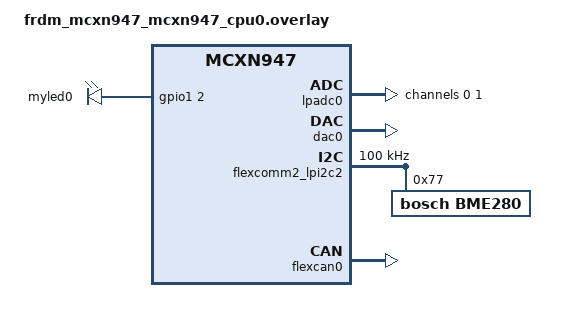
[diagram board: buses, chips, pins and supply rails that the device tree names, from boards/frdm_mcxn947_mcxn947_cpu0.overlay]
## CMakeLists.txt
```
# SPDX-License-Identifier: Apache-2.0

cmake_minimum_required(VERSION 3.28.0)

list(APPEND BOARD_ROOT ${CMAKE_CURRENT_SOURCE_DIR})
set(BOARD "mcxn947_protocard/mcxn947/cpu0")

set(VERSION_MAJOR "1")
set(VERSION_MINOR "1")
set(PATCHLEVEL "0")
set(VERSION_TWEAK "0")
set(EXTRAVERSION "00000000")

find_package(Git QUIET REQUIRED)

execute_process(
    COMMAND "${GIT_EXECUTABLE}" rev-parse --short HEAD
    WORKING_DIRECTORY "${CMAKE_SOURCE_DIR}"
    RESULT_VARIABLE res
    OUTPUT_VARIABLE EXTRAVERSION
    ERROR_QUIET
    OUTPUT_STRIP_TRAILING_WHITESPACE)

set_property(GLOBAL APPEND
    PROPERTY CMAKE_CONFIGURE_DEPENDS
    "${CMAKE_SOURCE_DIR}/.git/index")

set(BOARD_FLASH_RUNNER "probe-rs")
set(BOARD_DEBUG_RUNNER "probe-rs")

# utilize settings to autogenerate a header file to adjust the build inside the C code
#
configure_file (
   "${CMAKE_SOURCE_DIR}/src/VERSION.in"
   "${CMAKE_SOURCE_DIR}/VERSION"
   )

find_package(Zephyr REQUIRED HINTS $ENV{ZEPHYR_BASE})

project(oresat_template LANGUAGES C)

include_directories("${PROJECT_SOURCE_DIR}") # needed so c code can find this header

# (*) zephyr_include_directories(od)
zephyr_include_directories(objdict)

# (*)=disabled until oresat-configs supports code generation for Zephyr's canopennode
# (*) execute_process(COMMAND bash -c "oresat-configs canopennode od.yaml ../../common/od.yaml -d gen")

target_sources(app PRIVATE
  src/main.c
)

# Compile in various demos depending on Kconfig values.
target_sources_ifdef(CONFIG_BLINK_DEMO      app PRIVATE src/blink.c)
target_sources_ifdef(CONFIG_I2C_SENSOR_DEMO app PRIVATE src/i2c_sensor.c)
target_sources_ifdef(CONFIG_DAC_DEMO        app PRIVATE src/dac.c)
target_sources_ifdef(CONFIG_ADC_DEMO        app PRIVATE src/adc.c)
target_sources_ifdef(CONFIG_CAN_DEMO        app PRIVATE src/can.c)
target_sources_ifdef(CONFIG_GPIO_DEMO       app PRIVATE src/gpio.c)
target_sources_ifdef(CONFIG_CAN_DEMO        app PRIVATE objdict/CO_OD.c)
# (*) target_sources_ifdef(CONFIG_CAN_DEMO       app PRIVATE od/CO_OD.c)
```

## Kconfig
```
# SPDX-License-Identifier: Apache-2.0

menu "Zephyr"
source "Kconfig.zephyr"
endmenu

module = APP_TEMPLATE
module-str = APP TEMPLATE

config BOARD_OVERLAY_PRESENT
	bool
	default $(dt_nodelabel_exists,oresat_demo)

if BOARD_OVERLAY_PRESENT

	menu "Oresat demo options"

	config BLINK_DEMO
		bool "Blink an LED"
		default y
		help
		  Enable the thread which blinks an LED.

	config I2C_SENSOR_DEMO
		bool "Enable monitoring an I2C sensor"
		default y
		select I2C
		select SENSOR
		select SENSOR_ASYNC_API
		help
		  Enable reading from a Bosch Sensortec BME280.

	config DAC_DEMO
		bool "Enable generation of a sawtooth pattern."
		default y
		select DAC
		help
		  Enable a slowly repeating sawtooth from 0 to 3.3v.

	config CAN_DEMO
		bool "Enable sending CAN packets."
		default y
		select CAN
		select CANOPEN
		select CANOPENNODE
		select USE_STM32_HAL_FLASH if SOC_STM32F091XC
		select USE_STM32_HAL_FLASH_EX if SOC_STM32F091XC
		select USE_STM32_HAL_CAN if SOC_STM32F091XC
		help
		  Enable CAN interface and send data from CO_OD.

	config GPIO_DEMO
		bool "Enable monitoring GPIOs."
		default y
		help
		  Enable logging of initial GPIO states, followed
		  by periodic logging of changes.

	config ADC_DEMO
		bool "Enable monitoring one or more ADC channels."
		default y
		select ADC
		select DMA
		select ADC_STM32 if SOC_STM32F091XC
		select ADC_STM32_DMA if SOC_STM32F091XC
		select DMA_STM32 if SOC_STM32F091XC
		help
		  Outputs the data scaled to mV.

	if ADC_DEMO

		config SEQUENCE_SAMPLES
			int "Number of samples to be made on the sequence for each channel."
			default 5

		config SEQUENCE_RESOLUTION
			int "Set the resolution of the sequence readings."
			default 12

		config SEQUENCE_32BITS_REGISTERS
			bool "ADC data sequences are on 32bits"
			default n

	endif  # ADC_DEMO

	if CAN_DEMO && !SOC_STM32F091XC && !ARCH_POSIX

		config MCUBOOT_ALLOWED
			bool "MCUboot allowed."
			default y
			select BOOTLOADER_MCUBOOT
			select MCUBOOT_GENERATE_UNSIGNED_IMAGE
			select FLASH
			select FLASH_MAP
			select STREAM_FLASH
			select IMG_MANAGER
			select MCUBOOT_GENERATE_CONFIRMED_IMAGE
			select CANOPENNODE_PROGRAM_DOWNLOAD
			help
			  Define helper symbol CONFIG_MCUBOOT_ALLOWED for all supported
			  architectures that have room for the required partitions in flash
			  and have those partitions defined in the device tree. This
			  eliminates the need for the user to either change prj.conf to
			  enable MCUBOOT or provide an EXTRA_CONF_FILE option to west that
			  names an overlay file.

	endif

	endmenu

endif # BOARD_OVERLAY_PRESENT
```

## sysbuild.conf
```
SB_CONFIG_BOOTLOADER_MCUBOOT=n
SB_CONFIG_BOOT_SIGNATURE_TYPE_NONE=y
```

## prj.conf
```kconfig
CONFIG_GPIO=y
CONFIG_CONSOLE=y
CONFIG_UART_CONSOLE=y
CONFIG_STDOUT_CONSOLE=y
CONFIG_BUILD_OUTPUT_HEX=y
CONFIG_CRC=y

CONFIG_CANOPENNODE_SDO_BUFFER_SIZE=889
CONFIG_CAN_DEFAULT_BITRATE=1000000
CONFIG_CANOPENNODE_SYNC_THREAD=n

CONFIG_REBOOT=y

CONFIG_ORESAT_COMMON_LIB=y
CONFIG_HWINFO=y

CONFIG_I2C=y
CONFIG_SENSOR=y
CONFIG_SENSOR_ASYNC_API=y

CONFIG_BLINK_DEMO=y
CONFIG_I2C_SENSOR_DEMO=y
CONFIG_CAN_DEMO=y
CONFIG_ADC_DEMO=y
CONFIG_DAC_DEMO=y
CONFIG_GPIO_DEMO=y

# Below is required to read temperature channel 26,
# but it causes a bus fault. Debug required.
#CONFIG_LPADC_CHANNEL_COUNT=28

CONFIG_SEQUENCE_SAMPLES=8

CONFIG_DMA_LOG_LEVEL_WRN=y

CONFIG_LOG=y
CONFIG_LOG_MODE_IMMEDIATE=y
CONFIG_LOG_MODE_DEFERRED=n
#CONFIG_LOG_BUFFER_SIZE=20480
CONFIG_LOG_PRINTK=y

CONFIG_LOG_DEFAULT_LEVEL=4
#CONFIG_SENSOR_LOG_LEVEL_DBG=y
CONFIG_KERNEL_LOG_LEVEL_INF=y
CONFIG_ADC_LOG_LEVEL_INF=y
CONFIG_DAC_LOG_LEVEL_INF=y
CONFIG_CAN_LOG_LEVEL_ERR=y

CONFIG_HEAP_MEM_POOL_SIZE=1024
CONFIG_ASSERT=y

CONFIG_SYSTEM_WORKQUEUE_STACK_SIZE=2048
CONFIG_MAIN_STACK_SIZE=2048

CONFIG_ASSERT=n
CONFIG_DEBUG_THREAD_INFO=y
CONFIG_THREAD_RUNTIME_STATS=y
CONFIG_DEBUG_OPTIMIZATIONS=y
CONFIG_COVERAGE=n

CONFIG_THREAD_ANALYZER=y
CONFIG_THREAD_ANALYZER_USE_PRINTK=y
CONFIG_THREAD_ANALYZER_AUTO=y
CONFIG_THREAD_ANALYZER_AUTO_INTERVAL=300

CONFIG_INIT_STACKS=y
CONFIG_STACK_SENTINEL=y
#CONFIG_STACK_CANARIES=y
#CONFIG_TEST_RANDOM_GENERATOR=y

CONFIG_USE_SEGGER_RTT=y
CONFIG_RTT_CONSOLE=y
```

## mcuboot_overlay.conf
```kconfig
CONFIG_BOOTLOADER_MCUBOOT=y
CONFIG_MCUBOOT_GENERATE_UNSIGNED_IMAGE=y
# CONFIG_MCUBOOT_SIGNATURE_KEY_FILE=""
CONFIG_FLASH=y
CONFIG_FLASH_MAP=y
CONFIG_STREAM_FLASH=y
CONFIG_IMG_MANAGER=y
CONFIG_MCUBOOT_IMG_MANAGER=y
CONFIG_MCUBOOT_GENERATE_CONFIRMED_IMAGE=n
```

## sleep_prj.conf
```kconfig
CONFIG_PRINTK=y
CONFIG_CONSOLE=y
CONFIG_SERIAL=y
CONFIG_UART_CONSOLE=y

CONFIG_PM=y
CONFIG_PM_DEVICE=y
CONFIG_PM_DEVICE_RUNTIME=y


CONFIG_TICKLESS_KERNEL=y
```

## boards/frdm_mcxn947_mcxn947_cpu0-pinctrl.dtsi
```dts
&pinctrl {
	pinmux_flexcomm2_lpi2c: pinmux_flexcomm2_lpi2c {
		group0 {
			pinmux = <FC2_P0_PIO4_0>, // SDA  Header: J7  Pin: 8
    			     <FC2_P1_PIO4_1>; // SCL  Header: J7  Pin: 6
			slew-rate = "fast";
			drive-strength = "low";
			input-enable;
			bias-pull-up;
			drive-open-drain;
		};
	};

    pinmux_dac0: pinmux_dac0 {
        group0 {
            pinmux = <DAC0_OUT_PIO4_2>; // Header: J1  Pin: 4
            drive-strength = "low";
            slew-rate = "fast";
        };
    };

    pinmux_lpadc0: pinmux_lpadc0 {
        group0 {
            pinmux = <ADC0_A14_PIO0_22>, // Header: J4  Pin: 8
                     <ADC0_A15_PIO0_23>; // Header: J4  Pin: 12
            slew-rate = "fast";
            drive-strength = "low";
        };
    };

    pinmux_flexcan0: pinmux_flexcan0 {
        group0 {
            pinmux = <CAN0_TXD_PIO1_10>,
                     <CAN0_RXD_PIO1_11>;
            slew-rate = "fast";
            drive-strength = "low";
        };
    };
};
```

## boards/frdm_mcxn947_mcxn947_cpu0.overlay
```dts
#include <zephyr/dt-bindings/adc/adc.h>
#include <zephyr/dt-bindings/adc/mcux-lpadc.h>

#include "frdm_mcxn947_mcxn947_cpu0-pinctrl.dtsi"

/ {
	oresat_demo: oresat-demo-enabled {}; // Enable demos for supported boards

	zephyr,user {
		dac = <&dac0>;
		dac_channel_id = <0>;
		dac_resolution = <12>;
	};

	aliases {
		dac0 = &dac0;
		adc0 = &lpadc0;
		i2c0 = &flexcomm2_lpi2c2;
		led0 = &myled0;
		can0 = &flexcan0;
	};

	leds {
		compatible = "gpio-leds";
		myled0: led_0 {
			gpios = <&gpio1 2 GPIO_ACTIVE_HIGH>;
		};
	};
};

&lpadc0 {
	#address-cells = <1>;
	#size-cells = <0>;
	voltage-ref = <0x0>; // Use 3.3V reference
	pinctrl-0 = <&pinmux_lpadc0>;
	pinctrl-names = "default";

	lpadc0_0: channel@0 {
		reg = <0>;
		zephyr,gain = "ADC_GAIN_1";
		zephyr,reference = "ADC_REF_EXTERNAL0";
		zephyr,vref-mv = <3300>;
		zephyr,acquisition-time = <ADC_ACQ_TIME(ADC_ACQ_TIME_MICROSECONDS,2)>;
		zephyr,resolution = <12>;
		zephyr,oversampling = <5>;
		zephyr,input-positive = <MCUX_LPADC_CH14A>;
		/delete-property/ zephyr,differential;
	};
	lpadc0_1: channel@1 {
		reg = <1>;
		zephyr,gain = "ADC_GAIN_1";
		zephyr,reference = "ADC_REF_EXTERNAL0";
		zephyr,vref-mv = <3300>;
		zephyr,acquisition-time = <ADC_ACQ_TIME(ADC_ACQ_TIME_MICROSECONDS,2)>;
		zephyr,resolution = <12>;
		zephyr,oversampling = <5>;
		zephyr,input-positive = <MCUX_LPADC_CH15A>;
		/delete-property/ zephyr,differential;
	};
};

&dac0 {
	status = "okay";
	pinctrl-0 = <&pinmux_dac0>;
	pinctrl-names = "default";
};

&flexcomm2_lpi2c2 {
	status = "okay";
	pinctrl-0 = <&pinmux_flexcomm2_lpi2c>;
	pinctrl-names = "default";
	clock-frequency = <I2C_BITRATE_STANDARD>;

	bme280: bme280@77 {
		compatible = "bosch,bme280";
		reg = <0x77>;
		status = "okay";
	};
};

&flexcan0 {
	status = "okay";
	pinctrl-0 = <&pinmux_flexcan0>;
	pinctrl-names = "default";
};
```

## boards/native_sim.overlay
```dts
#include <zephyr/dt-bindings/adc/adc.h>

/ {
    oresat_demo: oresat-demo-enabled {}; // Enable demos for supported boards

    chosen {
        zephyr,canbus = &can0;
    };

    aliases {
        adc0 = &adc;
        /* can0 = &can; */
    };

    adc: adc {
        compatible = "zephyr,adc-emul";
        status = "okay";
        #address-cells = <1>;
        #size-cells = <0>;
        nchannels = <32>;
        ref-internal-mv = <1>;

        channel@0 {
            reg = <0>;
            zephyr,gain = "ADC_GAIN_1";
            zephyr,reference = "ADC_REF_INTERNAL";
            zephyr,vref-mv = <3300>;
            zephyr,acquisition-time = <ADC_ACQ_TIME(ADC_ACQ_TIME_MICROSECONDS,2)>;
            zephyr,resolution = <12>;
            zephyr,oversampling = <5>;
            zephyr,input-positive = <0>;
        };
    };

    can: can {
        compatible = "zephyr,native-linux-can";
        status = "okay";
        host-interface = "zcan0";
        bitrate = <1000>;
    };
};
```

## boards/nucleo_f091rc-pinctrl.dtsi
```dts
&pinctrl {
    i2c1_sda_pb9: i2c1_sda_pb9 {
        pinmux = <STM32_PINMUX('B', 9, AF1)>; // SDA  Arduino: D14  Pin: PB9
        slew-rate = "medium-speed";
        bias-pull-up;
        drive-open-drain;
    };

    i2c1_scl_pb8: i2c1_scl_pb8 {
        pinmux = <STM32_PINMUX('B', 8, AF1)>; // SCL  Arduino: D15  Pin: PB8
        slew-rate = "medium-speed";
        bias-pull-up;
        drive-open-drain;
    };

    dac1_out1_pa4: dac1_out1_pa4 {
        pinmux = <STM32_PINMUX('A', 4, ANALOG)>; // DAC_OUT1  Arduino: A2  Pin: PA4
    };

    adc1_in0_pa0: adc1_in0_pa0 {
        pinmux = <STM32_PINMUX('A', 0, ANALOG)>; // ADC1_IN0  Arduino: A0  Pin: PA0
    };

    adc1_in1_pa1: adc1_in1_pa1 {
        pinmux = <STM32_PINMUX('A', 1, ANALOG)>; // ADC1_IN1  Arduino: A1  Pin: PA1
    };
};
```

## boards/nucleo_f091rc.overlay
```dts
#include <zephyr/dt-bindings/adc/adc.h>
#include <zephyr/dt-bindings/pinctrl/stm32-pinctrl.h>
#include <zephyr/dt-bindings/dma/stm32_dma.h>

#include "nucleo_f091rc-pinctrl.dtsi"

/ {
	oresat_demo: oresat-demo-enabled {}; // Enable demos for supported boards

	zephyr,user {
		dac = <&dac1>;
		dac_channel_id = <1>;
		dac_resolution = <12>;
	};

	aliases {
		dac0 = &dac1;
		adc0 = &adc1;
		i2c0 = &i2c1;
		led0 = &myled0;
	};

	leds {
		compatible = "gpio-leds";
		myled0: led_0 {
			gpios = <&gpioa 5 GPIO_ACTIVE_HIGH>;
		};
	};
};

&dma1 {
	status = "okay";
};

&adc1 {
	#address-cells = <1>;
	#size-cells = <0>;
	pinctrl-0 = <&adc1_in0_pa0 &adc1_in1_pa1>;
	pinctrl-names = "default";
	dmas = <&dma1 1 (STM32_DMA_PERIPH_RX |
					STM32_DMA_PRIORITY_HIGH |
					STM32_DMA_PERIPH_16BITS |
					STM32_DMA_MEM_16BITS)>;
	dma-names = "rx";

	adc1_0: channel@0 {
		reg = <0>;
		zephyr,gain = "ADC_GAIN_1";
		zephyr,reference = "ADC_REF_INTERNAL";
		zephyr,vref-mv = <3300>;
		zephyr,acquisition-time = <ADC_ACQ_TIME(ADC_ACQ_TIME_TICKS, 240)>;
		zephyr,resolution = <12>;
		zephyr,oversampling = <5>;
		/delete-property/ zephyr,differential;
	};
	adc1_1: channel@1 {
		reg = <1>;
		zephyr,gain = "ADC_GAIN_1";
		zephyr,reference = "ADC_REF_INTERNAL";
		zephyr,vref-mv = <3300>;
		zephyr,acquisition-time = <ADC_ACQ_TIME(ADC_ACQ_TIME_TICKS, 240)>;
		zephyr,resolution = <12>;
		zephyr,oversampling = <5>;
		/delete-property/ zephyr,differential;
	};
};

&dac1 {
	status = "okay";
	pinctrl-0 = <&dac1_out1_pa4>;
	pinctrl-names = "default";
};

&i2c1 {
	status = "okay";
	pinctrl-0 = <&i2c1_scl_pb8 &i2c1_sda_pb9>;
	pinctrl-names = "default";
	clock-frequency = <I2C_BITRATE_STANDARD>;

	bme280: bme280@77 {
		compatible = "bosch,bme280";
		reg = <0x77>;
		status = "okay";
	};
};
```

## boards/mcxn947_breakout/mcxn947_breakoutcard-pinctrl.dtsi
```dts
/*
 * Copyright 2024 NXP
 * SPDX-License-Identifier: Apache-2.0
 */


#include <nxp/mcx/MCXN947VNL-pinctrl.h>

&pinctrl {
	pinmux_flexcomm0_lpi2c: pinmux_flexcomm0_lpi2c {
		group0 {
			pinmux = <FC0_P0_PIO0_16>,
				<FC0_P1_PIO0_17>;
			slew-rate = "fast";
			drive-strength = "low";
			input-enable;
			bias-pull-up;
			drive-open-drain;
		};
	};

	pinmux_flexcomm3_lpspi: pinmux_flexcomm3_lpspi {
		group0 {
			pinmux = <FC3_P0_PIO1_0>,
				<FC3_P1_PIO1_1>,
				<FC3_P2_PIO1_2>,
				<FC3_P3_PIO1_3>;
			slew-rate = "fast";
			drive-strength = "low";
			input-enable;
		};
	};

	pinmux_flexcomm2_lpi2c: pinmux_flexcomm2_lpi2c {
		group0 {
			pinmux = <FC2_P0_PIO4_0>,
				<FC2_P1_PIO4_1>;
			slew-rate = "fast";
			drive-strength = "low";
			input-enable;
			bias-pull-up;
			drive-open-drain;
		};
	};

	pinmux_flexcomm2_lpuart: pinmux_flexcomm2_lpuart {
		group0 {
			pinmux = <FC2_P2_PIO4_2>,
				<FC2_P3_PIO4_3>;
			slew-rate = "fast";
			drive-strength = "low";
			input-enable;
		};
	};

	pinmux_flexcomm4_lpuart: pinmux_flexcomm4_lpuart {
		group0 {
			pinmux = <FC4_P0_PIO1_8>,
				<FC4_P1_PIO1_9>;
			slew-rate = "fast";
			drive-strength = "low";
			input-enable;
		};
	};

	pinmux_flexspi: pinmux_flexspi {
		group0 {
			pinmux = <FLEXSPI0_A_SS0_b_PIO3_0>,
					<FLEXSPI0_A_SCLK_PIO3_7>,
					<FLEXSPI0_A_DQS_PIO3_6>,
					<FLEXSPI0_A_DATA0_PIO3_8>,
					<FLEXSPI0_A_DATA1_PIO3_9>;
			input-enable;
			slew-rate = "fast";
			drive-strength = "low";
		};
		group1 {
			pinmux = <FLEXSPI0_A_DATA2_PIO3_10>,
					<FLEXSPI0_A_DATA3_PIO3_11>;
			input-enable;
			slew-rate = "fast";
			drive-strength = "low";
			bias-pull-up;
		};
	};

	pinmux_dac0: pinmux_dac0 {
		group0 {
			pinmux = <DAC0_OUT_PIO4_2>;
			drive-strength = "low";
			slew-rate = "fast";
		};
	};

	pinmux_flexpwm1_pwm0: pinmux_flexpwm1_pwm0 {
		group0 {
			pinmux = <PWM1_A0_PIO2_6>,
				<PWM1_B0_PIO2_7>;
			slew-rate = "fast";
			drive-strength = "low";
		};
	};

	pinmux_flexpwm1_pwm1: pinmux_flexpwm1_pwm1 {
		group0 {
			pinmux = <PWM1_A1_PIO2_4>,
				<PWM1_B1_PIO2_5>;
			slew-rate = "fast";
			drive-strength = "low";
		};
	};

	pinmux_flexpwm1_pwm2: pinmux_flexpwm1_pwm2 {
		group0 {
			pinmux = <PWM1_A2_PIO2_2>,
				<PWM1_B2_PIO2_3>;
			slew-rate = "fast";
			drive-strength = "low";
		};
	};

	pinmux_usdhc0: pinmux_usdhc0 {
		group0 {
			pinmux = <SDHC0_CMD_PIO2_5>,
				   <SDHC0_D0_PIO2_3>,
				   <SDHC0_D1_PIO2_2>,
				   <SDHC0_D2_PIO2_7>,
				   <SDHC0_D3_PIO2_6>;
			slew-rate = "fast";
			drive-strength = "low";
			bias-pull-up;
			input-enable;
		};
		group1 {
			pinmux = <SDHC0_CLK_PIO2_4>;
			slew-rate = "fast";
			drive-strength = "low";
			input-enable;
		};
	};

	pinmux_lpadc0: pinmux_lpadc0 {
		group0 {
			pinmux = <ADC0_A1_PIO4_15>,
					 <ADC0_A2_PIO4_23>;
			slew-rate = "fast";
			drive-strength = "low";
		};
	};

	pinmux_lpcmp0: pinmux_lpcmp0 {
		group0 {
			pinmux = <CMP0_IN0_PIO1_0>;
			drive-strength = "low";
			slew-rate = "fast";
			bias-pull-up;
		};
	};

	pinmux_flexcan0: pinmux_flexcan0 {
		group0 {
			pinmux = <CAN0_TXD_PIO1_10>,
				<CAN0_RXD_PIO1_11>;
			slew-rate = "fast";
			drive-strength = "low";
			input-enable;
		};
	};

	pinmux_sctimer: pinmux_sctimer {
		group0 {
			pinmux = <SCT0_OUT0_PIO2_2>;
			slew-rate = "fast";
			drive-strength = "low";
			input-enable;
		};
	};
};
```

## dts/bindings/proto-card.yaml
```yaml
# Oresat proto card

description: Oresat proto card

compatible: "proto-card"

properties:
  tp84-p0-3-gpios:
    type: phandle-array
    required: true
    description: GPIO input or output.

  tp84-p0-3-gpios:
    type: phandle-array
    required: true
    description: GPIO input or output.

  tp85-p0-4-gpios:
    type: phandle-array
    required: true
    description: GPIO input or output.

  tp86-p0-5-gpios:
    type: phandle-array
    required: true
    description: GPIO input or output.

  tp78-p0-18-gpios:
    type: phandle-array
    required: true
    description: GPIO input or output.

  tp79-p0-19-gpios:
    type: phandle-array
    required: true
    description: GPIO input or output.

  tp80-p0-20-gpios:
    type: phandle-array
    required: true
    description: GPIO input or output.

  tp81-p0-21-gpios:
    type: phandle-array
    required: true
    description: GPIO input or output.

  tp82-p0-22-gpios:
    type: phandle-array
    required: true
    description: GPIO input or output.

  tp83-p0-23-gpios:
    type: phandle-array
    required: true
    description: GPIO input or output.

  tp68-p1-0-gpios:
    type: phandle-array
    required: true
    description: GPIO input or output.

  tp69-p1-1-gpios:
    type: phandle-array
    required: true
    description: GPIO input or output.

  tp70-p1-2-gpios:
    type: phandle-array
    required: true
    description: GPIO input or output.

  tp71-p1-3-gpios:
    type: phandle-array
    required: true
    description: GPIO input or output.

  tp72-p1-4-gpios:
    type: phandle-array
    required: true
    description: GPIO input or output.

  tp73-p1-5-gpios:
    type: phandle-array
    required: true
    description: GPIO input or output.

  tp74-p1-6-gpios:
    type: phandle-array
    required: true
    description: GPIO input or output.

  tp75-p1-7-gpios:
    type: phandle-array
    required: true
    description: GPIO input or output.

  tp5-p1-12-gpios:
    type: phandle-array
    required: true
    description: GPIO input or output.

  tp7-p1-14-gpios:
    type: phandle-array
    required: true
    description: GPIO input or output.

  tp8-p1-15-gpios:
    type: phandle-array
    required: true
    description: GPIO input or output.

  tp9-p2-0-gpios:
    type: phandle-array
    required: true
    description: GPIO input or output.

  tp10-p2-1-gpios:
    type: phandle-array
    required: true
    description: GPIO input or output.

  tp52-p3-1-gpios:
    type: phandle-array
    required: true
    description: GPIO input or output.

  tp60-p3-12-gpios:
    type: phandle-array
    required: true
    description: GPIO input or output.

  tp59-p3-13-gpios:
    type: phandle-array
    required: true
    description: GPIO input or output.

  tp58-p3-14-gpios:
    type: phandle-array
    required: true
    description: GPIO input or output.

  tp57-p3-15-gpios:
    type: phandle-array
    required: true
    description: GPIO input or output.

  tp56-p3-16-gpios:
    type: phandle-array
    required: true
    description: GPIO input or output.

  tp55-p3-17-gpios:
    type: phandle-array
    required: true
    description: GPIO input or output.

  tp62-p3-20-gpios:
    type: phandle-array
    required: true
    description: GPIO input or output.

  tp63-p3-21-gpios:
    type: phandle-array
    required: true
    description: GPIO input or output.

  tp29-p4-1-gpios:
    type: phandle-array
    required: true
    description: GPIO input or output.

  tp27-p4-3-gpios:
    type: phandle-array
    required: true
    description: GPIO input or output.

  tp26-p4-4-gpios:
    type: phandle-array
    required: true
    description: GPIO input or output.

  tp25-p4-5-gpios:
    type: phandle-array
    required: true
    description: GPIO input or output.

  tp22-p4-6-gpios:
    type: phandle-array
    required: true
    description: GPIO input or output.

  tp20-p4-7-gpios:
    type: phandle-array
    required: true
    description: GPIO input or output.

  tp41-p4-19-gpios:
    type: phandle-array
    required: true
    description: GPIO input or output.

  tp64-p5-0-gpios:
    type: phandle-array
    required: true
    description: GPIO input or output.

  tp65-p5-1-gpios:
    type: phandle-array
    required: true
    description: GPIO input or output.

  tp66-p5-2-gpios:
    type: phandle-array
    required: true
    description: GPIO input or output.

  tp67-p5-3-gpios:
    type: phandle-array
    required: true
    description: GPIO input or output.
```

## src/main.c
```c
/**
 * main.c
 *
 * Simple main that only logs a bootup message. The remainder
 * of the demos are implemented as independent threads
 * in blink.c, dac.c, i2c_sensor.c, and adc.c.
 *
 * These can be disabled at compile time by adding:
 *   CONFIG_BLINK_DEMO=n
 * for example, to prj.conf. See Kconfig for the options or run
 * west build -t menuconfig for an interacive configuration
 * editor.
 */
#include <zephyr/device.h>
#include <zephyr/kernel.h>
#include <zephyr/drivers/hwinfo.h>
#include <zephyr/logging/log.h>
#include <zephyr/version.h>
#include <zephyr/app_version.h>

LOG_MODULE_REGISTER(oresat_zephyr_template, LOG_LEVEL_DBG);

/** Dump Hardware Info
 *    Show the unique processor id and the reason for reset.
 *
 *    This requires:
 *    #include <zephyr/drivers/hwinfo.h>
 *    prj.conf:
 *    CONFIG_HWINFO=y
 *    Names of reset cause bits defined in same header; e.g.
 *    RESET_POR
 **/
static void dump_hwinfo(void)
{
	uint8_t hwid[32] = {0};
	uint32_t reset_cause;
	int reset_cause_ret;
	int hwid_len;

	hwid_len = hwinfo_get_device_id(hwid,sizeof(hwid)); // returns size of the device id
	reset_cause_ret = hwinfo_get_reset_cause(&reset_cause);
	if (!reset_cause_ret) {
		hwinfo_clear_reset_cause();
	}

	if (hwid_len < 0) {
		LOG_ERR("    Chip     HWID: UNNKOWN (%d", hwid_len);
	} else {
		LOG_HEXDUMP_INF(hwid, hwid_len, "    Chip     HWID: ");
	}
	if (reset_cause_ret < 0) {
		LOG_ERR("      Reset Cause: UNKNOWN (%d)", reset_cause_ret);
	} else {
		LOG_INF("      Reset Cause: 0x%08x", reset_cause);
	}
}

int main(void)
{
	LOG_INF("Oresat Template App");
	LOG_INF("   Oresat   Board: %s", CONFIG_BOARD_TARGET);
	dump_hwinfo();
	LOG_INF("   App    Version: %s", APP_VERSION_STRING);
	LOG_INF("   Zephyr Version: %s", KERNEL_VERSION_STRING);

    return 0;
}
```

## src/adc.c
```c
/**
 * adc.c
 *
 * Original code came from zephyr/samples/driver/adc_sequence.
 *
 * Modified slightly to run as a thread and use logging.
 */

#ifdef CONFIG_ADC_EMUL
#include <zephyr/drivers/adc/adc_emul.h>
#include <math.h>
#endif /* ifdef CONFIG_ADC_EMUL */

#include <stdio.h>
#include <zephyr/kernel.h>
#include <zephyr/sys/printk.h>
#include <zephyr/sys/__assert.h>

#include <zephyr/device.h>
#include <zephyr/devicetree.h>
#include <zephyr/dsp/print_format.h>
#include <zephyr/drivers/adc.h>
#include <zephyr/logging/log.h>

LOG_MODULE_REGISTER(oresat_adc_demo, LOG_LEVEL_INF);

/* size of stack area used by each thread */
#define STACKSIZE 1024

/* scheduling priority used by each thread */
#define PRIORITY 7

/* 1000 msec = 1 sec */
#define ADC_SLEEP_TIME_MS 500 /* Use 5 to generate more data to graph samples that follow the DAC output */

/* ADC node from the devicetree. */
#define ADC_NODE DT_ALIAS(adc0)

/* Auxiliary macro to obtain channel vref, if available. */
#define CHANNEL_VREF(node_id) DT_PROP_OR(node_id, zephyr_vref_mv, 0)

/* Data of ADC device specified in devicetree. */
static const struct device *adc = DEVICE_DT_GET(ADC_NODE);

/* Data array of ADC channels for the specified ADC. */
static const struct adc_channel_cfg channel_cfgs[] = {
	DT_FOREACH_CHILD_SEP(ADC_NODE, ADC_CHANNEL_CFG_DT, (,))};

/* Data array of ADC channel voltage references. */
static uint32_t vrefs_mv[] = {DT_FOREACH_CHILD_SEP(ADC_NODE, CHANNEL_VREF, (,))};

/* Get the number of channels defined on the DTS. */
#define CHANNEL_COUNT ARRAY_SIZE(channel_cfgs)

static int handle_adc(void)
{
	int err;
#ifdef CONFIG_SEQUENCE_32BITS_REGISTERS
	uint32_t channel_reading[CONFIG_SEQUENCE_SAMPLES][CHANNEL_COUNT];
#else
	uint16_t channel_reading[CONFIG_SEQUENCE_SAMPLES][CHANNEL_COUNT];
#endif

	/* Options for the sequence sampling. */
	const struct adc_sequence_options options = {
		.extra_samplings = CONFIG_SEQUENCE_SAMPLES - 1,
		.interval_us = 0,
	};

	/* Configure the sampling sequence to be made. */
	struct adc_sequence sequence = {
		.buffer = channel_reading,
		/* buffer size in bytes, not number of samples */
		.buffer_size = sizeof(channel_reading),
		.resolution = CONFIG_SEQUENCE_RESOLUTION,
		.options = &options,
	};

	LOG_INF("Starting ADC demo");

	if (!device_is_ready(adc)) {
		LOG_ERR("ADC controller device %s not ready", adc->name);
		return 0;
	}

	LOG_INF("Channels: %d, sequence samples: %d, resolution: %d",
		   CHANNEL_COUNT, CONFIG_SEQUENCE_SAMPLES, CONFIG_SEQUENCE_RESOLUTION);

	/* Configure channels individually prior to sampling. */
	for (size_t i = 0U; i < CHANNEL_COUNT; i++) {
		sequence.channels |= BIT(channel_cfgs[i].channel_id);
		err = adc_channel_setup(adc, &channel_cfgs[i]);
		if (err < 0) {
			LOG_ERR("Could not setup channel #%d (%d)\n", i, err);
			return 0;
		}
		if ((vrefs_mv[i] == 0) && (channel_cfgs[i].reference == ADC_REF_INTERNAL)) {
			vrefs_mv[i] = adc_ref_internal(adc);
		}
		#ifdef CONFIG_ADC_CONFIGURABLE_INPUTS
		LOG_INF("Channel: %u, vref_mv: %u, gain: %u, acq time: %u, diff: %u, inp_pos: %u, inp_neg: %u",
				channel_cfgs[i].channel_id, vrefs_mv[i], channel_cfgs[i].gain, channel_cfgs[i].acquisition_time,
				channel_cfgs[i].differential, channel_cfgs[i].input_positive, channel_cfgs[i].input_negative);
		#else
		LOG_INF("Channel: %u, vref_mv: %u, gain: %u, acq time: %u, diff: %u",
				channel_cfgs[i].channel_id, vrefs_mv[i], channel_cfgs[i].gain, channel_cfgs[i].acquisition_time,
				channel_cfgs[i].differential);
		#endif
	}

#ifdef CONFIG_ADC_EMUL
	uint32_t adc_val = 0;
#endif /* ifdef CONFIG_ADC_EMUL */

	while (1) {
		k_msleep(ADC_SLEEP_TIME_MS);

#ifdef CONFIG_ADC_EMUL
		uint32_t adc_raw = (uint32_t)((sin(adc_val) + 1) * 1000);
		adc_emul_const_raw_value_set(adc, 0, adc_raw);
		adc_val++;
#endif /* ifdef CONFIG_ADC_EMUL */

		err = adc_read(adc, &sequence);
		if (err < 0) {
			LOG_ERR("Could not read (%d)", err);
			continue;
		}

		for (size_t channel_index = 0U; channel_index < CHANNEL_COUNT; channel_index++) {
			int32_t raw;
			int32_t val_mv;

			printk("Channel %" PRId32 ":", channel_index);

			for (size_t sample_index = 0U; sample_index < CONFIG_SEQUENCE_SAMPLES;
			     sample_index++) {

				raw = channel_reading[sample_index][channel_index];
				val_mv = raw;

				err = adc_raw_to_millivolts(vrefs_mv[channel_index],
							    channel_cfgs[channel_index].gain,
							    CONFIG_SEQUENCE_RESOLUTION, &val_mv);

				/* conversion to mV may not be supported, skip if not */
				if ((err < 0) || vrefs_mv[channel_index] == 0) {
					printk("% 4" PRId32 ",", raw);
				} else {
					printk("% 4" PRId32 ",", val_mv);
				}
			}
			printk("\n");
		}
	}

	return 0;
}

K_THREAD_DEFINE(adc_id, STACKSIZE, handle_adc, NULL, NULL, NULL, PRIORITY, 0, 0);
```

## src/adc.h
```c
#if !defined(_ADC_H_)
#define _ADC_H_

int get_num_adc_channels(void);

int init_adc(void);

int acquire_adc_readings(void);

int read_adc(unsigned int log_adc_num, int32_t *val_mv, uint32_t *val_raw);

#endif
```

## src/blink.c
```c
/**
 * blink.c
 *
 * Code came from https://github.com/Blen-E/pracblink, which
 * originally from zephyr/samples/basic/blinky.
 *
 * Modified slightly to run as a thread and use logging.
 */
#include <stdio.h>
#include <zephyr/kernel.h>
#include <zephyr/drivers/gpio.h>
#include <zephyr/sys/printk.h> 
#include <zephyr/sys/__assert.h>

#include <zephyr/device.h>
#include <zephyr/devicetree.h>
#include <zephyr/logging/log.h>

LOG_MODULE_REGISTER(oresat_blink_demo, LOG_LEVEL_INF);

/* size of stack area used by each thread */
#define STACKSIZE 1024

/* scheduling priority used by each thread */
#define PRIORITY 7

/* 1000 msec = 1 sec */
#define LED_SLEEP_TIME_MS   1000

/* The devicetree node identifier for the "led0" alias. */
#define LED0_NODE DT_ALIAS(led0)

extern const k_tid_t blink_id;

static int handle_blink(void *p1, void *p2, void *p3)
{
	int ret;
	const struct gpio_dt_spec led = GPIO_DT_SPEC_GET(LED0_NODE, gpios);

	k_thread_name_set(blink_id, "blink_thread");
	LOG_INF("Starting blink demo");

	/* Can we use the LED? */
	if (!device_is_ready(led.port)) {
		LOG_ERR("LED device is not ready");
		return -1;
	}

	/* Set it up */
	ret = gpio_pin_configure_dt(&led, GPIO_OUTPUT_ACTIVE);
	if (ret < 0) {
		LOG_ERR("Could not configure the LED GPIO pin: %d", ret);
		return ret;
	}

	/* Thread loop */
	while (1) {
		gpio_pin_toggle_dt(&led);
		LOG_DBG("The light is blinking!");
		k_msleep(LED_SLEEP_TIME_MS);
	}
	return 0;
}

K_THREAD_DEFINE(blink_id, STACKSIZE, handle_blink, NULL, NULL, NULL, PRIORITY, 0, 0);
```

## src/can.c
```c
#include <zephyr/kernel.h>
#include <zephyr/device.h>
#include <zephyr/sys/reboot.h>
#include <zephyr/logging/log.h>
#include <zephyr/sys/printk.h>
#include <zephyr/drivers/gpio.h>
#include <zephyr/dfu/mcuboot.h>
#include <canopennode.h>
#include <CO_OD.h>
#include <oresat.h>

LOG_MODULE_REGISTER(can_thread, LOG_LEVEL_DBG);

#define CAN_INTERFACE (DEVICE_DT_GET(DT_CHOSEN(zephyr_canbus)))
#define CAN_BITRATE (DT_PROP_OR(DT_CHOSEN(zephyr_canbus), bitrate, \
					 DT_PROP_OR(DT_CHOSEN(zephyr_canbus), bus_speed, \
								CONFIG_CAN_DEFAULT_BITRATE) / 1000))

#define CAN_THREAD_STACK_SIZE 2048
#define CAN_THREAD_PRIORITY 0
extern const k_tid_t can_id;

static bool run_self_tests(void)
{
	LOG_INF("Running system self-tests...");

	// Placeholder for board/app-specific checks
	bool tests_passed = true;

	return tests_passed;
}

static void handle_can(void *p1, void *p2, void *p3)
{
	int err;
	uint16_t timeout;
	uint16_t wr_timeout_count;
	uint32_t elapsed = 0U;
	int64_t timestamp;
	CO_NMT_reset_cmd_t reset = CO_RESET_NOT;
	struct canopen_context can = {.dev = CAN_INTERFACE};
	uint8_t node_id = oresat_get_node_id();

	k_thread_name_set(can_id, "can_thread");

	LOG_INF("Starting CAN thread");

	// Confirm a newly booted MCUboot image if self-tests pass
	if (!IS_ENABLED(CONFIG_BOOTLOADER_MCUBOOT)) {
		/* do nothing */
	} else if (!boot_is_img_confirmed()) {
		LOG_INF("New firmware detected. Pending confirmation.");

		if (run_self_tests()) {
			LOG_INF("Self-tests passed. Confirming image.");
			int rc = boot_write_img_confirmed();
			if (rc < 0) {
				LOG_ERR("Failed to confirm MCUboot image: %d", rc);
			}
		} else {
			LOG_ERR("Self-tests failed.");
			k_msleep(500); // Let logs flush
#if defined(CONFIG_REBOOT)
			LOG_ERR("Rebooting to revert firmware...");
			sys_reboot(SYS_REBOOT_COLD);
#else
			LOG_ERR("Please reboot to revert firmware.");
#endif
		}
	} else {
		LOG_INF("Firmware already confirmed.");
	}

	oresat_fix_pdo_cob_ids(node_id);

	LOG_DBG("Opening CAN device");
	if (!device_is_ready(can.dev)) {
		LOG_ERR("CAN interface is not ready");
		goto fatal_error;
	}

	LOG_INF("Starting CANopenNode (node_id=0x%02x, bitrate=%u kbps)",
			(unsigned)node_id, (unsigned)CAN_BITRATE);

	while (reset != CO_RESET_APP) {
		elapsed = 0U;
		wr_timeout_count = 0U;

		err = CO_init(&can, node_id, CAN_BITRATE);
		if (err != CO_ERROR_NO) {
			LOG_ERR("CO_init failed (err = %d)", err);
			goto fatal_error;
		}

		if (IS_ENABLED(CONFIG_BOOTLOADER_MCUBOOT)) {
			canopen_program_download_attach(CO->NMT, CO->SDO[0], CO->em);
		}
		CO_CANsetNormalMode(CO->CANmodule[0]);

		LOG_INF("Template app running. Waiting for CANopen requests...");

		while (true) {
			bool_t syncWas = false;

			timeout = 1U;
			timestamp = k_uptime_get();

			if (CO_isError(CO->em, CO_EM_CAN_TX_OVERFLOW)) {
				CO_errorReset(CO->em, CO_EM_CAN_TX_OVERFLOW, 111);
			}

			if (wr_timeout_count++ >= 1000U) {
				wr_timeout_count = 0U;

				CO_LOCK_OD();
				CO_OD_RAM.pack_1.cycles++;
				CO_OD_RAM.pack_1.current = 100;
				CO_OD_RAM.pack_1.full_capacity = 1000;
				CO_OD_RAM.pack_1.status = 13;
				CO_OD_RAM.pack_1.temperature = 21;
				CO_OD_RAM.pack_1.vbatt = 79;
				CO_OD_RAM.pack_2.cycles++;
				CO_OD_RAM.pack_2.current = 200;
				CO_OD_RAM.pack_2.full_capacity = 1500;
				CO_OD_RAM.pack_2.status = 17;
				CO_OD_RAM.pack_2.temperature = 23;
				CO_OD_RAM.pack_2.vbatt = 84;
				CO_UNLOCK_OD();

			}

			reset = CO_process(CO, (uint16_t)elapsed, &timeout);
			if (reset != CO_RESET_NOT) {
				break;
			}

			if (timeout > 0) {
				/* Read inputs */
				CO_process_RPDO(CO, syncWas);

				/* Write outputs */
				CO_process_TPDO(CO, syncWas, timeout * 1000U);

				k_sleep(K_MSEC(timeout));
				elapsed = (uint32_t)k_uptime_delta(&timestamp);
			} else {
				elapsed = 0U;
			}
		}
		if (reset == CO_RESET_COMM) {
			LOG_INF("Resetting communication");
		}
	}

	// The CAN host asked us to reset ourselves. Clean up and then do so (if enabled in this build).
	CO_delete(&can);
#if defined(CONFIG_REBOOT)
	sys_reboot(SYS_REBOOT_COLD);
#endif

fatal_error:
	k_msleep(1000);
	__ASSERT(false, "Fatal error");
}

K_THREAD_DEFINE(can_id, CAN_THREAD_STACK_SIZE, handle_can, NULL, NULL, NULL, CAN_THREAD_PRIORITY, 0, 0);
```

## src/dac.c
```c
/**
 * dac.c
 *
 * Original code came from zephyr/samples/driver/dac.
 *
 * Modified slightly to run as a thread and use logging.
 */
#include <stdio.h>
#include <zephyr/kernel.h>
#include <zephyr/sys/printk.h> 
#include <zephyr/sys/__assert.h>

#include <zephyr/device.h>
#include <zephyr/devicetree.h>
#include <zephyr/drivers/sensor.h>
#include <zephyr/drivers/sensor_data_types.h>
#include <zephyr/rtio/rtio.h>
#include <zephyr/dsp/print_format.h>
#include <zephyr/drivers/dac.h>
#include <zephyr/drivers/adc.h>
#include <zephyr/logging/log.h>

LOG_MODULE_REGISTER(oresat_dac_demo, LOG_LEVEL_DBG);

/* size of stack area used by each thread */
#define STACKSIZE 2048

/* scheduling priority used by each thread */
#define PRIORITY_DAC 6

#define ZEPHYR_USER_NODE DT_PATH(zephyr_user)

#if (DT_NODE_HAS_PROP(ZEPHYR_USER_NODE, dac) && \
	DT_NODE_HAS_PROP(ZEPHYR_USER_NODE, dac_channel_id) && \
	DT_NODE_HAS_PROP(ZEPHYR_USER_NODE, dac_resolution))
#define DAC_NODE DT_PHANDLE(ZEPHYR_USER_NODE, dac)
#define DAC_CHANNEL_ID DT_PROP(ZEPHYR_USER_NODE, dac_channel_id)
#define DAC_RESOLUTION DT_PROP(ZEPHYR_USER_NODE, dac_resolution)
#else
#error "Unsupported board: see README and check /zephyr,user node"
#define DAC_NODE DT_INVALID_NODE
#define DAC_CHANNEL_ID 0
#define DAC_RESOLUTION 0
#endif

extern const k_tid_t dac_id;

static int handle_dac(void *p1, void *p2, void *p3)
{
	int ret;
	const struct device *const dac_dev = DEVICE_DT_GET(DAC_NODE);
	const struct dac_channel_cfg dac_ch_cfg = {
		.channel_id  = DAC_CHANNEL_ID,
		.resolution  = DAC_RESOLUTION,
	#if defined(CONFIG_DAC_BUFFER_NOT_SUPPORT)
		.buffered = false,
	#else
		.buffered = true,
	#endif /* CONFIG_DAC_BUFFER_NOT_SUPPORT */
	};

	k_thread_name_set(dac_id, "dac_thread");
	LOG_INF("Starting DAC demo");

	/* Can we use the DAC? */
	if (!device_is_ready(dac_dev)) {
		LOG_ERR("DAC device %s is not ready", dac_dev->name);
		return -1;
	}

	/* Set it up */
	ret = dac_channel_setup(dac_dev, &dac_ch_cfg);
	if (ret != 0) {
		LOG_ERR("Setting up of DAC channel failed with code %d", ret);
		return ret;
	}

	/* Number of valid DAC values, e.g. 4096 for 12-bit DAC */
	const int dac_values = 1U << DAC_RESOLUTION;
	/*
	 * 100 usec sleep leads to about 0.4 sec signal period for 12-bit
	 * DACs. For DACs with lower resolution, sleep time needs to
	 * be increased.
	 */
	const int sleep_time = ((4096 / dac_values) > 0 ? (4096 / dac_values) : 1) * 1000;

	LOG_DBG("Generating sawtooth signal at DAC channel %d.", DAC_CHANNEL_ID);
	LOG_DBG("Number of DAC samples per cycle: %d, sleep time per sample (us): %d",
		   dac_values, sleep_time);
	int cycle = 0;

	while (1) {
		for (int i = 0; i < dac_values; i++) {
			ret = dac_write_value(dac_dev, DAC_CHANNEL_ID, i);
			if (ret != 0) {
				LOG_ERR("dac_write_value() failed with code %d", ret);
				return ret;
			}
			k_sleep(K_USEC(sleep_time));
		}
		LOG_INF("Cycle %u", ++cycle);
	}
	return 0;
}

K_THREAD_DEFINE(dac_id, STACKSIZE, handle_dac, NULL, NULL, NULL, PRIORITY_DAC, 0, 0);
```

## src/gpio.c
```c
/**
 * gpio.c
 *
 * Show how to access GPIOs on a board.
 *
 */
#include <stdio.h>
#include <zephyr/kernel.h>
#include <zephyr/sys/printk.h>
#include <zephyr/sys/__assert.h>

#include <zephyr/device.h>
#include <zephyr/devicetree.h>
#include <zephyr/dsp/print_format.h>
#include <zephyr/logging/log.h>
#include <zephyr/drivers/gpio.h>

LOG_MODULE_REGISTER(oresat_gpio_demo, LOG_LEVEL_INF);

/* size of stack area used by each thread */
#define STACKSIZE 1024

/* scheduling priority used by each thread */
#define PRIORITY_GPIO 6

#define GPIO_SLEEP_TIME_MS 5000

extern const k_tid_t gpio_id;

/**************************************************/
#if defined(CONFIG_BOARD_MCXN947_PROTOCARD)
#define BP_NODE DT_NODELABEL(protogpios)

/**
 * Use X Macros to define board-specific GPIO definitions
 * (GPIO_DEFS).
 *
 * Define the raw data that lists test point number, port
 * number, and bit number in the port. For example, the first
 * line corresponds to TP84, which is connected to P0_3.
 *
 * Use that data in the next section to generate an enumeration
 * of all the test point names (e.g, TP84) and an array of
 * structures for storing the device tree gpio access objects as
 * well as ints for the three columns.
 *
 * This array of structs can be indexed with the enumeration
 * values to provide easy access to any specific test point
 * GPIO.
 **/
#define GPIO_DEFS \
	X(84, 0,  3) \
	X(85, 0,  4) \
	X(86, 0,  5) \
	X(78, 0, 18) \
	X(79, 0, 19) \
	X(80, 0, 20) \
	X(81, 0, 21) \
	X(82, 0, 22) \
	X(83, 0, 23) \
	X(68, 1,  0) \
	X(69, 1,  1) \
	X(70, 1,  2) \
	X(71, 1,  3) \
	X(72, 1,  4) \
	X(73, 1,  5) \
	X(74, 1,  6) \
	X(75, 1,  7) \
	X( 5, 1, 12) \
	X( 7, 1, 14) \
	X( 8, 1, 15) \
	X( 9, 2,  0) \
	X(10, 2,  1) \
	X(52, 3,  1) \
	X(60, 3, 12) \
	X(59, 3, 13) \
	X(58, 3, 14) \
	X(57, 3, 15) \
	X(56, 3, 16) \
	X(55, 3, 17) \
	X(62, 3, 20) \
	X(63, 3, 21) \
	X(29, 4,  1) \
	X(27, 4,  3) \
	X(26, 4,  4) \
	X(25, 4,  5) \
	X(22, 4,  6) \
	X(20, 4,  7) \
	X(41, 4, 19) \
	X(64, 5,  0) \
	X(65, 5,  1) \
	X(66, 5,  2) \
	X(67, 5,  3)

/**
 * Instantiate the X macro to use the ## token pasting operator
 * to generate enums for each test point name.
 *
 * Use this X macro by invoking GPIO_DEFS. This automatically
 * fills in a comma-separated list of enumeration names.
 *
 * We also automatically get a count of the number of test
 * points defined as NUM_GPIO_TPS.
 *
 * After this X macro is used, undefine it so another X macro
 * can be created to use the same raw data above.
 *
 * The resulting enums will be named, for example:
 *   TP84 for port 0 bit 3
 *   TP85 for port 0 bit 4
 * You can then use these names in your custom source code.
 *
 **/
#define X(tpnum, port, bit) TP ## tpnum,
typedef enum {
	GPIO_DEFS
	NUM_GPIO_TPS
} GPIO_TPS;
#undef X

/**
 * Define a structure to store the gpio_dt_spec, and integers to
 * store the tpnum, port, and bit.
 */
typedef struct gpio_tp {
	const struct gpio_dt_spec dt;
	int tpnum;
	int port;
	int bit;
} gpio_tp;

/**
 * Instantiate a new X macro to generate build-time
 * initialization data for each GPIO. It must be done at
 * build-time due to the way that the Zephyr device tree access
 * from C is done using macros.
 *
 * Use the X macro to generate initialization data for an array
 * of these structures, by invoking GPIO_DEFS again.
 *
 * As recommended, undefine X so it could be redefined later.
 *
 * An example initialization entry for the array is:
 *
 *   {GPIO_DT_SPEC_GET(BP_NODE, tp84_p0_3_gpios), 84, 0, 3},
 *
 * You can then access a specific gpio_tp structure in the
 * gpio_tp_array by enum name, such as:
 *
 *   gpio_tp *my_new_led = &gpio_tp_array[TP84];
 *
 */
#define X(tpnum, port, bit) {GPIO_DT_SPEC_GET(BP_NODE, tp ## tpnum ## _p ## port ## _ ## bit ## _gpios), tpnum, port, bit},
static const gpio_tp gpio_tp_array[NUM_GPIO_TPS] = {
	GPIO_DEFS
};
#undef X

static int gpios_init(void)
{
	/**
	 * The GPIO test points are configured by default as inputs with
	 * pulldowns. As an example of changing the configuration at
	 * runtime, rather than in the device tree at startup only, here
	 * we configure TP84, which is routed to Port 0 bit 3, as an
	 * output which is active.
	 * By setting TP84 to be an output, as shown below, you could
	 * hook up a new LED + resistor to TP84 and be able to turn it
	 * on and off.
	 */
#if 0
	const gpio_tp *my_new_led = &gpio_tp_array[TP84];
	int ret = gpio_pin_configure_dt(&my_new_led->dt, GPIO_OUTPUT_ACTIVE | GPIO_ACTIVE_HIGH);

	if (ret) {
	    return ret;
	}
#endif

#if 0
	// modify the handle_gpios() function below to also toggle the new LED

	const gpio_tp *my_new_led = &gpio_tp_array[TP84]; // <-- add this line

	for (;;) {
		gpios_log();
		k_msleep(1000);
		gpio_pin_toggle_dt(&my_new_led->dt); // <-- add this line
	}
#endif
	return 0;
}

static int gpios_log(void)
{
	/* enumerate all GPIOs and print their definitions as well as their currently read hardware value. */
	for (int i = 0; i < NUM_GPIO_TPS; i++) {
		LOG_DBG("TP%d P%d_%d = %u", gpio_tp_array[i].tpnum, gpio_tp_array[i].port, gpio_tp_array[i].bit, gpio_pin_get_dt(&gpio_tp_array[i].dt));
	}
	return 0;
}

#else

static int gpios_init(void)
{
	LOG_INF("No GPIOs defined.");
	return 0;
}

static int gpios_log(void)
{
	return 0;
}

#endif


static int handle_gpios(void *p1, void *p2, void *p3)
{
	int ret;

	k_thread_name_set(gpio_id, "gpio_thread");
	LOG_INF("Starting GPIO demo");

	/* Can we use the GPIOs? */
	ret = gpios_init();

	if (ret != 0) {
		LOG_ERR("GPIO device(s) is not ready: %d", ret);
		return -1;
	}

	for (;;) {
		gpios_log();
		k_msleep(GPIO_SLEEP_TIME_MS);
	}

	return 0;
}

K_THREAD_DEFINE(gpio_id, STACKSIZE, handle_gpios, NULL, NULL, NULL, PRIORITY_GPIO, 0, 0);
```

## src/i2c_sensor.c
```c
/**
 * i2c_sensor.c
 *
 * Original code came from zephyr/samples/sensor/bme280.
 *
 * Modified slightly to run as a thread and use logging.
 */
#include <stdio.h>
#include <zephyr/kernel.h>
#include <zephyr/sys/printk.h> 
#include <zephyr/sys/__assert.h>

#include <zephyr/device.h>
#include <zephyr/devicetree.h>
#include <zephyr/drivers/sensor.h>
#include <zephyr/drivers/sensor_data_types.h>
#include <zephyr/rtio/rtio.h>
#include <zephyr/logging/log.h>

LOG_MODULE_REGISTER(oresat_i2c_sensor_demo, LOG_LEVEL_DBG);

/* size of stack area used by each thread */
#define STACKSIZE 2048

/* scheduling priority used by each thread */
#define PRIORITY 7

/* 1000 msec = 1 sec */
#define BME_SLEEP_TIME_MS   5000

static const struct device *check_bme280_device(const struct device *bme_dev)
{
	if (bme_dev == NULL) {
		/* No such node, or the node does not have status "okay". */
		LOG_ERR("\nError: no device found.");
		return NULL;
	}

	if (!device_is_ready(bme_dev)) {
		LOG_ERR("\nError: Device \"%s\" is not ready; "
		       "check the driver initialization logs for errors.",
		       bme_dev->name);
		return NULL;
	}

	LOG_INF("Found device \"%s\", getting sensor data", bme_dev->name);
	return bme_dev;
}

/*
 * Get a device structure from a devicetree node with compatible
 * "bosch,bme280". (If there are multiple, just pick one.)
 */
SENSOR_DT_READ_IODEV(iodev, DT_COMPAT_GET_ANY_STATUS_OKAY(bosch_bme280),
		{SENSOR_CHAN_AMBIENT_TEMP, 0},
		{SENSOR_CHAN_HUMIDITY, 0},
		{SENSOR_CHAN_PRESS, 0});

RTIO_DEFINE(ctx, 1, 1);

static int handle_bme280(void)
{
	int ret;
	uint8_t buf[128];
	const struct device *const bme_dev = DEVICE_DT_GET_ANY(bosch_bme280);

	LOG_INF("Starting I2C sensor demo");

	/* Can we use the I2C sensor? */
	if (check_bme280_device(bme_dev) == NULL) {
		LOG_ERR("Could not find the BME280");
		return -1;
	}

	/* Thread loop */
	while (1) {
		ret = sensor_read(&iodev, &ctx, buf, 128);
		if (ret != 0) {
			LOG_ERR("%s: sensor_read() failed: %d", bme_dev->name, ret);
			break;
		}

		const struct sensor_decoder_api *decoder;

		ret = sensor_get_decoder(bme_dev, &decoder);
		if (ret != 0) {
			LOG_ERR("%s: sensor_get_decode() failed: %d", bme_dev->name, ret);
			break;
		}

		uint32_t temp_fit = 0;
		struct sensor_q31_data temp_data = {0};

		decoder->decode(buf, (struct sensor_chan_spec) {SENSOR_CHAN_AMBIENT_TEMP, 0},
						&temp_fit, 1, &temp_data);

		uint32_t press_fit = 0;
		struct sensor_q31_data press_data = {0};

		decoder->decode(buf, (struct sensor_chan_spec) {SENSOR_CHAN_PRESS, 0},
						&press_fit, 1, &press_data);

		uint32_t hum_fit = 0;
		struct sensor_q31_data hum_data = {0};

		decoder->decode(buf, (struct sensor_chan_spec) {SENSOR_CHAN_HUMIDITY, 0},
						&hum_fit, 1, &hum_data);

		printk("temp: %s%d.%d; press: %s%d.%d; humidity: %s%d.%d\n",
			PRIq_arg(temp_data.readings[0].temperature, 6, temp_data.shift),
			PRIq_arg(press_data.readings[0].pressure, 6, press_data.shift),
			PRIq_arg(hum_data.readings[0].humidity, 6, hum_data.shift));

		k_msleep(BME_SLEEP_TIME_MS);
	}
	return ret;
}

K_THREAD_DEFINE(bme280_id, STACKSIZE, handle_bme280, NULL, NULL, NULL, PRIORITY, 0, 0);
```
